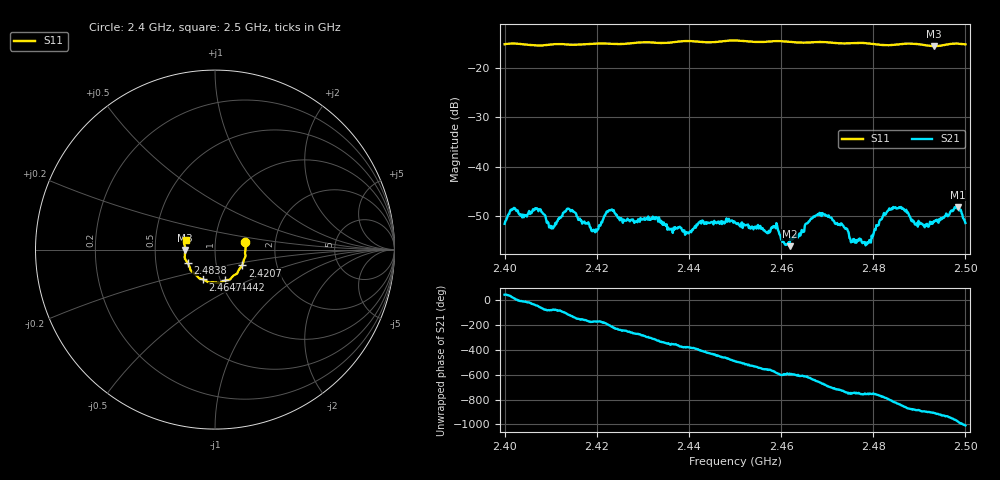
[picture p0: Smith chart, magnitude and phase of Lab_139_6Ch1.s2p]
# Hz S RI R 50
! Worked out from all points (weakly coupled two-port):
!   601 points, 2.4 GHz to 2.5 GHz, reference 50 ohm
!   highest |S21| = -48.13 dB at 2.4983 GHz (marker M1); lowest = -56.1 dB at 2.4618 GHz (marker M2)
!   lowest |S11| = -15.6 dB at 2.4932 GHz (marker M3), VSWR 1.40, Z = 35.8 - j0.154 ohm
!   |S11| at or under -10 dB: start of sweep to end of sweep
!   S12 and S22 are empty: the file has one direction only
!   S11 on the Smith chart (normalised r, x): 2.4 GHz: 1.40, +0.12; 2.4207 GHz: 1.33, -0.24; 2.4442 GHz: 1.05, -0.37; 2.4647 GHz: 0.83, -0.29; 2.4838 GHz: 0.73, -0.11; 2.5 GHz: 0.71, +0.08
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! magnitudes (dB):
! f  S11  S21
! 2.4 GHz  -15.2  -51.5
! 2.4018 GHz  -15.1  -48.6
! 2.4073 GHz  -15.5  -49.0
! 2.4102 GHz  -15.3  -52.5
! 2.4137 GHz  -15.3  -48.5
! 2.4167 GHz  -15.3  -50.9
! 2.4207 GHz  -15.1  -51.9
! 2.4232 GHz  -15.2  -48.7
! 2.4333 GHz  -15.0  -51.1
! 2.4397 GHz  -14.6  -53.3
! 2.4442 GHz  -14.9  -51.3
! 2.45 GHz  -14.5  -51.2
! 2.4587 GHz  -14.6  -52.0
! 2.4618 GHz  -14.7  -56.1
! 2.4647 GHz  -14.9  -53.2
! 2.4667 GHz  -14.9  -50.5
! 2.4785 GHz  -15.0  -55.3
! 2.4833 GHz  -15.4  -48.7
! 2.4838 GHz  -15.4  -48.7
! 2.4932 GHz  -15.6  -51.0
! 2.4983 GHz  -15.1  -48.1
! 2.5 GHz  -15.3  -51.4
